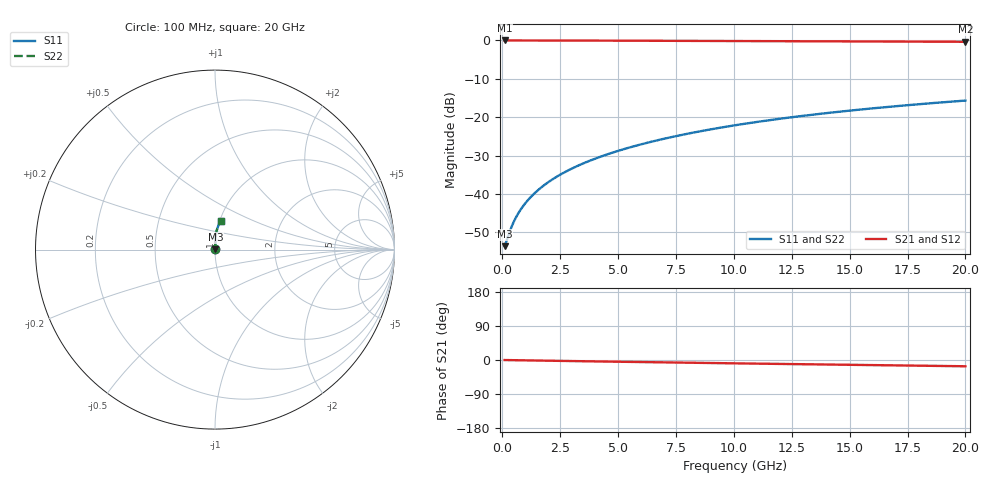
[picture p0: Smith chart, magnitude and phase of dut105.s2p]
! Touchstone file exported from HFSS 2024.1.0
!  File:  C:/UserFiles/LocalFiles/RDL_TSV_Batchsim/temp_RDL_top_105_1778683391.aedt
!  Generated:  10:45:26 PM May 13, 2026
!  Design:  RDL_top
!  Project:  temp_RDL_top_105_1778683391
!  Setup:  Setup1
!  Solution:  Sweep
! Variables:
!  dtsv = 10.80580581um
!  hbump = 3um
!  htsv = 82.45um
!  ldown = 100um
!  lrdl = 221.79um
!  p = 40
!  p1 = 40.81um
!  rhole = 1um
!  t = 450um
!  tdown = 3.915915916um
!  trdl = 2.27um
!  wdown = 15.38538539um
!  wrdl = 22.16um
# GHz S MA R 50.000000
! Terminal data exported
! Port[1] = Box2_T1
! Port[2] = Box2_T2
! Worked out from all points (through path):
!   200 points, 100 MHz to 20 GHz, reference 50 ohm
!   highest |S21| = -0.02 dB at 100 MHz (marker M1); lowest = -0.4 dB at 20 GHz (marker M2)
!   group delay of S21, straight-line fit = 2.28 ps
!   lowest |S11| = -53.6 dB at 100 MHz (marker M3), VSWR 1.00, Z = 50.2 + j0.0802 ohm
!   |S11| at or under -10 dB: start of sweep to end of sweep
!   |S22| runs from -53.6 to -15.7 dB; largest |S21 - S12| = 2.1e-15
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0.1  0.002087 22.5  0.9981 -0.1  0.9981 -0.1  0.002087 22.5
! Gamma 0 0 0 0
! Port Impedance 50 0 50 0
0.4  0.003727 55.7  0.9978 -0.4  0.9978 -0.4  0.003727 55.7
0.5  0.004367 60.3  0.9978 -0.5  0.9978 -0.5  0.004367 60.3
0.6  0.005011 63.7  0.9977 -0.6  0.9977 -0.6  0.005011 63.7
0.7  0.005656 66.5  0.9976 -0.7  0.9976 -0.7  0.005656 66.5
0.9  0.006951 70.5  0.9974 -0.9  0.9974 -0.9  0.006951 70.5
1.2  0.008916 74.7  0.9972 -1.1  0.9972 -1.1  0.008916 74.7
1.4  0.01025 76.8  0.997 -1.3  0.997 -1.3  0.01025 76.8
1.7  0.01227 79.1  0.9967 -1.6  0.9967 -1.6  0.01227 79.2
2.2  0.01571 81.9  0.9962 -2.1  0.9962 -2.1  0.01571 81.9
2.8  0.01994 84.1  0.9955 -2.6  0.9955 -2.6  0.01994 84.1
3.5  0.02502 85.8  0.9945 -3.3  0.9945 -3.3  0.02502 85.8
4.2  0.03024 86.9  0.9934 -3.9  0.9934 -3.9  0.03024 86.9
5  0.03638 87.7  0.9919 -4.6  0.9919 -4.6  0.03638 87.7
5.9  0.0435 88.2  0.9901 -5.4  0.9901 -5.4  0.04351 88.2
6.8  0.05082 88.3  0.9882 -6.1  0.9882 -6.1  0.05083 88.3
8.4  0.06423 88.0  0.9847 -7.5  0.9847 -7.5  0.06424 88.0
10.1  0.07885 87.2  0.9809 -8.9  0.9809 -8.9  0.07887 87.2
11.7  0.0928 86.1  0.9772 -10.2  0.9772 -10.2  0.09282 86.1
13.4  0.1077 84.7  0.9734 -11.5  0.9734 -11.5  0.1077 84.7
16.7  0.1364 81.9  0.9661 -14.0  0.9661 -14.0  0.1364 81.9
20  0.1645 78.9  0.9589 -16.5  0.9589 -16.5  0.1646 79.0
